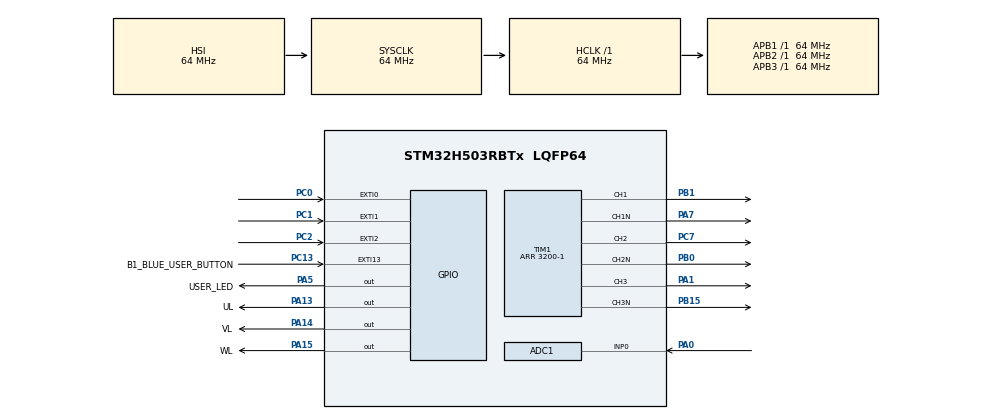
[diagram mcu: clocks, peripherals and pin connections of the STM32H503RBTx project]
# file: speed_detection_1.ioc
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ADC1.Channel-0\#ChannelRegularConversion=ADC_CHANNEL_0
ADC1.MonitoredBy-0\#ChannelRegularConversion=__NULL
ADC1.NbrOfConversionFlag=1
ADC1.OffsetNumber-0\#ChannelRegularConversion=ADC_OFFSET_NONE
ADC1.Rank-0\#ChannelRegularConversion=1
ADC1.SamplingTime-0\#ChannelRegularConversion=ADC_SAMPLETIME_2CYCLES_5
ADC1.master=1
BOOTPATH.BootPathName=LEGACY
BOOTPATH.UserSelectedBootPath=LEGACY
Mcu.Family=STM32H5
Mcu.Name=STM32H503RBTx
Mcu.Package=LQFP64
NVIC.EXTI0_IRQn=true\:0\:0\:true\:false\:true\:true\:true\:true
NVIC.EXTI1_IRQn=true\:0\:0\:true\:false\:true\:true\:true\:true
NVIC.EXTI2_IRQn=true\:0\:0\:true\:false\:true\:true\:true\:true
NVIC.PriorityGroup=NVIC_PRIORITYGROUP_4
NVIC.TIM2_IRQn=true\:0\:0\:false\:false\:true\:true\:true\:true
PA0.Signal=ADCx_INP0
PA1.Signal=S_TIM1_CH3
PA13(JTMS/SWDIO).GPIO_Label=UL
PA13(JTMS/SWDIO).Signal=GPIO_Output
PA14(JTCK/SWCLK).GPIO_Label=VL
PA14(JTCK/SWCLK).Signal=GPIO_Output
PA15(JTDI).GPIO_Label=WL
PA15(JTDI).Signal=GPIO_Output
PA3.GPIO_Label=T_VCP_RX
PA3.Signal=USART3_RX
PA4.GPIO_Label=T_VCP_TX
PA4.Signal=USART3_TX
PA5.GPIO_Label=USER_LED
PA5.Signal=GPIO_Output
PA7.Mode=PWM Generation1 CH1 CH1N
PA7.Signal=TIM1_CH1N
PB0.Mode=PWM Generation2 CH2 CH2N
PB0.Signal=TIM1_CH2N
PB1.Signal=S_TIM1_CH1
PB15.Mode=PWM Generation3 CH3 CH3N
PB15.Signal=TIM1_CH3N
PC0.GPIO_ModeDefaultEXTI=GPIO_MODE_IT_RISING_FALLING
PC0.Signal=GPXTI0
PC1.GPIO_ModeDefaultEXTI=GPIO_MODE_IT_RISING_FALLING
PC1.Signal=GPXTI1
PC13.GPIO_Label=B1_BLUE_USER_BUTTON
PC13.Signal=GPXTI13
PC2.GPIO_ModeDefaultEXTI=GPIO_MODE_IT_RISING_FALLING
PC2.Signal=GPXTI2
PC7.Signal=S_TIM1_CH2
ProjectManager.HeapSize=0x200
ProjectManager.StackSize=0x400
ProjectManager.TargetToolchain=STM32CubeIDE
RCC.ADCFreq_Value=64000000
RCC.AHBFreq_Value=64000000
RCC.APB1Freq_Value=64000000
RCC.APB1TimFreq_Value=64000000
RCC.APB2Freq_Value=64000000
RCC.APB2TimFreq_Value=64000000
RCC.APB3Freq_Value=64000000
RCC.CSI_VALUE=4000000
RCC.CortexFreq_Value=64000000
RCC.EPOD_VALUE=4000000
RCC.HCLKFreq_Value=64000000
RCC.HSE_VALUE=24000000
RCC.HSI48_VALUE=48000000
RCC.HSIDiv=RCC_HSI_DIV1
RCC.HSI_VALUE=64000000
RCC.LSE_VALUE=32768
RCC.LSIRC_VALUE=32000
RCC.PLLN=32
RCC.SYSCLKFreq_VALUE=64000000
RCC.USBFreq_Value=48000000
RCC.VCOOutputFreq_Value=128000000
SH.ADCx_INP0.0=ADC1_INP0,IN0-Single-Ended
SH.S_TIM1_CH1.0=TIM1_CH1,PWM Generation1 CH1 CH1N
SH.S_TIM1_CH2.0=TIM1_CH2,PWM Generation2 CH2 CH2N
SH.S_TIM1_CH3.0=TIM1_CH3,PWM Generation3 CH3 CH3N
TIM1.Channel-PWM\ Generation1\ CH1\ CH1N=TIM_CHANNEL_1
TIM1.Channel-PWM\ Generation2\ CH2\ CH2N=TIM_CHANNEL_2
TIM1.Channel-PWM\ Generation3\ CH3\ CH3N=TIM_CHANNEL_3
TIM1.DeadTime=10
TIM1.PeriodNoDither=3200-1
TIM1.PulseNoDither_1=0
TIM2.PeriodNoDither=100-1
TIM2.Prescaler=64000-1
VP_BOOTPATH_VS_BOOTPATH.Mode=BP_Activate
VP_CORTEX_M33_NS_VS_Hclk.Mode=Hclk_Mode
VP_MEMORYMAP_VS_MEMORYMAP.Mode=CurAppReg
VP_PWR_VS_DBSignals.Mode=DisableDeadBatterySignals
VP_PWR_VS_LPOM.Mode=PowerOptimisation
VP_PWR_VS_SECSignals.Mode=Security/Privilege
VP_TIM1_VS_ClockSourceINT.Mode=Internal
VP_TIM2_VS_ClockSourceINT.Mode=Internal
board=NUCLEO-H503RB

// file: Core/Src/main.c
/* USER CODE BEGIN Header */
/**
  ******************************************************************************
  * @file           : main.c
  * @brief          : Main program body
  ******************************************************************************
  * @attention
  *
  * Copyright (c) 2025 STMicroelectronics.
  * All rights reserved.
  *
  * This software is licensed under terms that can be found in the LICENSE file
  * in the root directory of this software component.
  * If no LICENSE file comes with this software, it is provided AS-IS.
  *
  ******************************************************************************
  */
/* USER CODE END Header */
#include "main.h"

/* USER CODE BEGIN PD */

// --- GPIOピン読み取り用マクロ ---
#define HALL_A_READ() HAL_GPIO_ReadPin(GPIOC, GPIO_PIN_0)
#define HALL_B_READ() HAL_GPIO_ReadPin(GPIOC, GPIO_PIN_1)
#define HALL_C_READ() HAL_GPIO_ReadPin(GPIOC, GPIO_PIN_2)

/* USER CODE END PD */

ADC_HandleTypeDef hadc1;

TIM_HandleTypeDef htim1;
TIM_HandleTypeDef htim2;

void SystemClock_Config(void);
static void MX_GPIO_Init(void);
static void MX_TIM1_Init(void);
static void MX_ADC1_Init(void);
static void MX_TIM2_Init(void);
/* USER CODE BEGIN PFP */
// --- PWM出力開始 ---
void Start_PWM()
{
  HAL_TIM_PWM_Start(&htim1, TIM_CHANNEL_1);
  HAL_TIM_PWM_Start(&htim1, TIM_CHANNEL_2);
  HAL_TIM_PWM_Start(&htim1, TIM_CHANNEL_3);
  HAL_TIMEx_PWMN_Start(&htim1, TIM_CHANNEL_1);
  HAL_TIMEx_PWMN_Start(&htim1, TIM_CHANNEL_2);
  HAL_TIMEx_PWMN_Start(&htim1, TIM_CHANNEL_3);
}

uint16_t Get_Duty_From_ADC(void);
uint32_t last_hall_time = 0;
uint8_t motor_running = 0;  // 0=停止, 1=回転中

// --- 6ステップ通電制御 ---
void Set_Step(uint8_t hall_state, uint16_t duty)
{
  // 全ch出力OFF
  __HAL_TIM_SET_COMPARE(&htim1, TIM_CHANNEL_1, 0);
  __HAL_TIM_SET_COMPARE(&htim1, TIM_CHANNEL_2, 0);
  __HAL_TIM_SET_COMPARE(&htim1, TIM_CHANNEL_3, 0);

  switch (hall_state)
  {
    case 0b101: // H1=1, H2=0, H3=1
		__HAL_TIM_SET_COMPARE(&htim1, TIM_CHANNEL_1, duty);
		__HAL_TIM_SET_COMPARE(&htim1, TIM_CHANNEL_2, 0);
		__HAL_TIM_SET_COMPARE(&htim1, TIM_CHANNEL_3, 0);
		HAL_GPIO_WritePin(UL_GPIO_Port, UL_Pin, GPIO_PIN_RESET);
		HAL_GPIO_WritePin(VL_GPIO_Port, VL_Pin, GPIO_PIN_SET);
		HAL_GPIO_WritePin(WL_GPIO_Port, WL_Pin, GPIO_PIN_RESET);
      break;

    case 0b100: // U+ W-
		__HAL_TIM_SET_COMPARE(&htim1, TIM_CHANNEL_1, duty);
		__HAL_TIM_SET_COMPARE(&htim1, TIM_CHANNEL_2, 0);
		__HAL_TIM_SET_COMPARE(&htim1, TIM_CHANNEL_3, 0);
		HAL_GPIO_WritePin(UL_GPIO_Port, UL_Pin, GPIO_PIN_RESET);
		HAL_GPIO_WritePin(VL_GPIO_Port, VL_Pin, GPIO_PIN_RESET);
		HAL_GPIO_WritePin(WL_GPIO_Port, WL_Pin, GPIO_PIN_SET);
      break;

    case 0b110: // V+ W-
		__HAL_TIM_SET_COMPARE(&htim1, TIM_CHANNEL_1, 0);
		__HAL_TIM_SET_COMPARE(&htim1, TIM_CHANNEL_2, duty);
		__HAL_TIM_SET_COMPARE(&htim1, TIM_CHANNEL_3, 0);
		HAL_GPIO_WritePin(UL_GPIO_Port, UL_Pin, GPIO_PIN_RESET);
		HAL_GPIO_WritePin(VL_GPIO_Port, VL_Pin, GPIO_PIN_RESET);
		HAL_GPIO_WritePin(WL_GPIO_Port, WL_Pin, GPIO_PIN_SET);
      break;

    case 0b010: // V+ U-
		__HAL_TIM_SET_COMPARE(&htim1, TIM_CHANNEL_1, 0);
		__HAL_TIM_SET_COMPARE(&htim1, TIM_CHANNEL_2, duty);
		__HAL_TIM_SET_COMPARE(&htim1, TIM_CHANNEL_3, 0);
		HAL_GPIO_WritePin(UL_GPIO_Port, UL_Pin, GPIO_PIN_SET);
		HAL_GPIO_WritePin(VL_GPIO_Port, VL_Pin, GPIO_PIN_RESET);
		HAL_GPIO_WritePin(WL_GPIO_Port, WL_Pin, GPIO_PIN_RESET);
      break;

    case 0b011: // W+ U-
		__HAL_TIM_SET_COMPARE(&htim1, TIM_CHANNEL_1, 0);
		__HAL_TIM_SET_COMPARE(&htim1, TIM_CHANNEL_2, 0);
		__HAL_TIM_SET_COMPARE(&htim1, TIM_CHANNEL_3, duty);
		HAL_GPIO_WritePin(UL_GPIO_Port, UL_Pin, GPIO_PIN_SET);
		HAL_GPIO_WritePin(VL_GPIO_Port, VL_Pin, GPIO_PIN_RESET);
		HAL_GPIO_WritePin(WL_GPIO_Port, WL_Pin, GPIO_PIN_RESET);
      break;

    case 0b001: // W+ V-
		__HAL_TIM_SET_COMPARE(&htim1, TIM_CHANNEL_1, 0);
		__HAL_TIM_SET_COMPARE(&htim1, TIM_CHANNEL_2, 0);
		__HAL_TIM_SET_COMPARE(&htim1, TIM_CHANNEL_3, duty);
		HAL_GPIO_WritePin(UL_GPIO_Port, UL_Pin, GPIO_PIN_RESET);
		HAL_GPIO_WritePin(VL_GPIO_Port, VL_Pin, GPIO_PIN_SET);
		HAL_GPIO_WritePin(WL_GPIO_Port, WL_Pin, GPIO_PIN_RESET);
      break;

    default:
      // 安全停止
      break;
  }
}

// --- 初期オープンループスタート ---
void OpenLoop_Startup(uint16_t duty)
{
    // ゆっくりと6ステップを順番に進める
    for (int step = 0; step < 1; step++) {
        Set_Step(0b101, duty);
        HAL_Delay(5);
        Set_Step(0b100, duty);
        HAL_Delay(5);
        Set_Step(0b110, duty);
        HAL_Delay(5);
        Set_Step(0b010, duty);
        HAL_Delay(5);
        Set_Step(0b011, duty);
        HAL_Delay(5);
        Set_Step(0b001, duty);
        HAL_Delay(5);
    }
}

// --- ホールセンサ状態を読み取り、ステップ制御 ---
void Update_Hall_And_Commutate()
{
  uint8_t hall = (HALL_A_READ() << 2) | (HALL_B_READ() << 1) | (HALL_C_READ() << 0);
  uint16_t duty = Get_Duty_From_ADC();
  Set_Step(hall, duty);
}

/* USER CODE END PFP */

/* USER CODE BEGIN 0 */

uint16_t Get_Duty_From_ADC()
{
  HAL_ADC_Start(&hadc1);
  HAL_ADC_PollForConversion(&hadc1, HAL_MAX_DELAY);
  uint32_t adc_val = HAL_ADC_GetValue(&hadc1);
  HAL_ADC_Stop(&hadc1);

  // 12bit ADC (0〜4095) を PWM の Period 値にスケーリング
  return (uint16_t)((adc_val * htim1.Init.Period) / 4095);
}

/* USER CODE END 0 */

int main(void)
{

  /* MCU Configuration--------------------------------------------------------*/

  /* Reset of all peripherals, Initializes the Flash interface and the Systick. */
  HAL_Init();

  /* Configure the system clock */
  SystemClock_Config();

  /* Initialize all configured peripherals */
  MX_GPIO_Init();
  MX_TIM1_Init();
  MX_ADC1_Init();
  MX_TIM2_Init();
  /* USER CODE BEGIN 2 */

  Start_PWM();
  uint16_t adc_val = 0;
  while (1)
  {
      adc_val = Get_Duty_From_ADC();
      if (adc_val <= 200) {
          break;  // 条件を満たしたらループを抜ける
      }
  }
  while (1)
    {
        adc_val = Get_Duty_From_ADC();
        if (adc_val >= 300) {
            break;  // 条件を満たしたらループを抜ける
        }
    }

  HAL_TIM_Base_Start_IT(&htim2);
  Set_Step(0b101, 1000);
  HAL_Delay(10);
  Set_Step(0b100, 1000);
  //HAL_Delay(100);
  //OpenLoop_Startup(100);

  /* USER CODE END 2 */

  /* Infinite loop */
  while (1)
  {

    /* USER CODE BEGIN 3 */
	  /*
	  uint16_t duty = Get_Duty_From_ADC();

	  // --- 停止検出 ---
	  if (HAL_GetTick() - last_hall_time > 300) { // 300ms以上変化なし → 停止判定
		  motor_running = 0;
		  // --- 再始動条件 ---
		  if (!motor_running && duty > 200) {         // 停止中かつ duty がしきい値超え
			  Set_Step(0b101, 1000);
			  HAL_Delay(10);
			  Set_Step(0b100, 1000);
			  //OpenLoop_Startup(200);           // 任意の duty で再始動
			  motor_running = 1;
			  last_hall_time = HAL_GetTick();
		  }
	  }
	  HAL_Delay(500);
	  */

  }
  /* USER CODE END 3 */
}

void SystemClock_Config(void)
{
  RCC_OscInitTypeDef RCC_OscInitStruct = {0};
  RCC_ClkInitTypeDef RCC_ClkInitStruct = {0};

  /** Configure the main internal regulator output voltage
  */
  __HAL_PWR_VOLTAGESCALING_CONFIG(PWR_REGULATOR_VOLTAGE_SCALE3);

  while(!__HAL_PWR_GET_FLAG(PWR_FLAG_VOSRDY)) {}

  /** Initializes the RCC Oscillators according to the specified parameters
  * in the RCC_OscInitTypeDef structure.
  */
  RCC_OscInitStruct.OscillatorType = RCC_OSCILLATORTYPE_HSI;
  RCC_OscInitStruct.HSIState = RCC_HSI_ON;
  RCC_OscInitStruct.HSIDiv = RCC_HSI_DIV1;
  RCC_OscInitStruct.HSICalibrationValue = RCC_HSICALIBRATION_DEFAULT;
  RCC_OscInitStruct.PLL.PLLState = RCC_PLL_NONE;
  if (HAL_RCC_OscConfig(&RCC_OscInitStruct) != HAL_OK)
  {
    Error_Handler();
  }

  /** Initializes the CPU, AHB and APB buses clocks
  */
  RCC_ClkInitStruct.ClockType = RCC_CLOCKTYPE_HCLK|RCC_CLOCKTYPE_SYSCLK
                              |RCC_CLOCKTYPE_PCLK1|RCC_CLOCKTYPE_PCLK2
                              |RCC_CLOCKTYPE_PCLK3;
  RCC_ClkInitStruct.SYSCLKSource = RCC_SYSCLKSOURCE_HSI;
  RCC_ClkInitStruct.AHBCLKDivider = RCC_SYSCLK_DIV1;
  RCC_ClkInitStruct.APB1CLKDivider = RCC_HCLK_DIV1;
  RCC_ClkInitStruct.APB2CLKDivider = RCC_HCLK_DIV1;
  RCC_ClkInitStruct.APB3CLKDivider = RCC_HCLK_DIV1;

  if (HAL_RCC_ClockConfig(&RCC_ClkInitStruct, FLASH_LATENCY_3) != HAL_OK)
  {
    Error_Handler();
  }

  /** Configure the programming delay
  */
  __HAL_FLASH_SET_PROGRAM_DELAY(FLASH_PROGRAMMING_DELAY_1);
}

static void MX_ADC1_Init(void)
{

  ADC_ChannelConfTypeDef sConfig = {0};

  /** Common config
  */
  hadc1.Instance = ADC1;
  hadc1.Init.ClockPrescaler = ADC_CLOCK_ASYNC_DIV2;
  hadc1.Init.Resolution = ADC_RESOLUTION_12B;
  hadc1.Init.DataAlign = ADC_DATAALIGN_RIGHT;
  hadc1.Init.ScanConvMode = ADC_SCAN_DISABLE;
  hadc1.Init.EOCSelection = ADC_EOC_SINGLE_CONV;
  hadc1.Init.LowPowerAutoWait = DISABLE;
  hadc1.Init.ContinuousConvMode = DISABLE;
  hadc1.Init.NbrOfConversion = 1;
  hadc1.Init.DiscontinuousConvMode = DISABLE;
  hadc1.Init.ExternalTrigConv = ADC_SOFTWARE_START;
  hadc1.Init.ExternalTrigConvEdge = ADC_EXTERNALTRIGCONVEDGE_NONE;
  hadc1.Init.DMAContinuousRequests = DISABLE;
  hadc1.Init.SamplingMode = ADC_SAMPLING_MODE_NORMAL;
  hadc1.Init.Overrun = ADC_OVR_DATA_PRESERVED;
  hadc1.Init.OversamplingMode = DISABLE;
  if (HAL_ADC_Init(&hadc1) != HAL_OK)
  {
    Error_Handler();
  }

  /** Configure Regular Channel
  */
  sConfig.Channel = ADC_CHANNEL_0;
  sConfig.Rank = ADC_REGULAR_RANK_1;
  sConfig.SamplingTime = ADC_SAMPLETIME_2CYCLES_5;
  sConfig.SingleDiff = ADC_SINGLE_ENDED;
  sConfig.OffsetNumber = ADC_OFFSET_NONE;
  sConfig.Offset = 0;
  if (HAL_ADC_ConfigChannel(&hadc1, &sConfig) != HAL_OK)
  {
    Error_Handler();
  }

}

static void MX_TIM1_Init(void)
{

  TIM_ClockConfigTypeDef sClockSourceConfig = {0};
  TIM_MasterConfigTypeDef sMasterConfig = {0};
  TIM_OC_InitTypeDef sConfigOC = {0};
  TIM_BreakDeadTimeConfigTypeDef sBreakDeadTimeConfig = {0};

  htim1.Instance = TIM1;
  htim1.Init.Prescaler = 0;
  htim1.Init.CounterMode = TIM_COUNTERMODE_UP;
  htim1.Init.Period = 3199;
  htim1.Init.ClockDivision = TIM_CLOCKDIVISION_DIV1;
  htim1.Init.RepetitionCounter = 0;
  htim1.Init.AutoReloadPreload = TIM_AUTORELOAD_PRELOAD_DISABLE;
  if (HAL_TIM_Base_Init(&htim1) != HAL_OK)
  {
    Error_Handler();
  }
  sClockSourceConfig.ClockSource = TIM_CLOCKSOURCE_INTERNAL;
  if (HAL_TIM_ConfigClockSource(&htim1, &sClockSourceConfig) != HAL_OK)
  {
    Error_Handler();
  }
  if (HAL_TIM_PWM_Init(&htim1) != HAL_OK)
  {
    Error_Handler();
  }
  sMasterConfig.MasterOutputTrigger = TIM_TRGO_RESET;
  sMasterConfig.MasterOutputTrigger2 = TIM_TRGO2_RESET;
  sMasterConfig.MasterSlaveMode = TIM_MASTERSLAVEMODE_DISABLE;
  if (HAL_TIMEx_MasterConfigSynchronization(&htim1, &sMasterConfig) != HAL_OK)
  {
    Error_Handler();
  }
  sConfigOC.OCMode = TIM_OCMODE_PWM1;
  sConfigOC.Pulse = 0;
  sConfigOC.OCPolarity = TIM_OCPOLARITY_HIGH;
  sConfigOC.OCNPolarity = TIM_OCNPOLARITY_HIGH;
  sConfigOC.OCFastMode = TIM_OCFAST_DISABLE;
  sConfigOC.OCIdleState = TIM_OCIDLESTATE_RESET;
  sConfigOC.OCNIdleState = TIM_OCNIDLESTATE_RESET;
  if (HAL_TIM_PWM_ConfigChannel(&htim1, &sConfigOC, TIM_CHANNEL_1) != HAL_OK)
  {
    Error_Handler();
  }
  if (HAL_TIM_PWM_ConfigChannel(&htim1, &sConfigOC, TIM_CHANNEL_2) != HAL_OK)
  {
    Error_Handler();
  }
  if (HAL_TIM_PWM_ConfigChannel(&htim1, &sConfigOC, TIM_CHANNEL_3) != HAL_OK)
  {
    Error_Handler();
  }
  sBreakDeadTimeConfig.OffStateRunMode = TIM_OSSR_DISABLE;
  sBreakDeadTimeConfig.OffStateIDLEMode = TIM_OSSI_DISABLE;
  sBreakDeadTimeConfig.LockLevel = TIM_LOCKLEVEL_OFF;
  sBreakDeadTimeConfig.DeadTime = 10;
  sBreakDeadTimeConfig.BreakState = TIM_BREAK_DISABLE;
  sBreakDeadTimeConfig.BreakPolarity = TIM_BREAKPOLARITY_HIGH;
  sBreakDeadTimeConfig.BreakFilter = 0;
  sBreakDeadTimeConfig.BreakAFMode = TIM_BREAK_AFMODE_INPUT;
  sBreakDeadTimeConfig.Break2State = TIM_BREAK2_DISABLE;
  sBreakDeadTimeConfig.Break2Polarity = TIM_BREAK2POLARITY_HIGH;
  sBreakDeadTimeConfig.Break2Filter = 0;
  sBreakDeadTimeConfig.Break2AFMode = TIM_BREAK_AFMODE_INPUT;
  sBreakDeadTimeConfig.AutomaticOutput = TIM_AUTOMATICOUTPUT_DISABLE;
  if (HAL_TIMEx_ConfigBreakDeadTime(&htim1, &sBreakDeadTimeConfig) != HAL_OK)
  {
    Error_Handler();
  }
  HAL_TIM_MspPostInit(&htim1);

}

static void MX_TIM2_Init(void)
{

  TIM_ClockConfigTypeDef sClockSourceConfig = {0};
  TIM_MasterConfigTypeDef sMasterConfig = {0};

  htim2.Instance = TIM2;
  htim2.Init.Prescaler = 64000-1;
  htim2.Init.CounterMode = TIM_COUNTERMODE_UP;
  htim2.Init.Period = 99;
  htim2.Init.ClockDivision = TIM_CLOCKDIVISION_DIV1;
  htim2.Init.AutoReloadPreload = TIM_AUTORELOAD_PRELOAD_DISABLE;
  if (HAL_TIM_Base_Init(&htim2) != HAL_OK)
  {
    Error_Handler();
  }
  sClockSourceConfig.ClockSource = TIM_CLOCKSOURCE_INTERNAL;
  if (HAL_TIM_ConfigClockSource(&htim2, &sClockSourceConfig) != HAL_OK)
  {
    Error_Handler();
  }
  sMasterConfig.MasterOutputTrigger = TIM_TRGO_RESET;
  sMasterConfig.MasterSlaveMode = TIM_MASTERSLAVEMODE_DISABLE;
  if (HAL_TIMEx_MasterConfigSynchronization(&htim2, &sMasterConfig) != HAL_OK)
  {
    Error_Handler();
  }

}

static void MX_GPIO_Init(void)
{
  GPIO_InitTypeDef GPIO_InitStruct = {0};

  /* GPIO Ports Clock Enable */
  __HAL_RCC_GPIOC_CLK_ENABLE();
  __HAL_RCC_GPIOA_CLK_ENABLE();
  __HAL_RCC_GPIOB_CLK_ENABLE();

  /*Configure GPIO pin Output Level */
  HAL_GPIO_WritePin(GPIOA, USER_LED_Pin|UL_Pin|VL_Pin|WL_Pin, GPIO_PIN_RESET);

  /*Configure GPIO pin : B1_BLUE_USER_BUTTON_Pin */
  GPIO_InitStruct.Pin = B1_BLUE_USER_BUTTON_Pin;
  GPIO_InitStruct.Mode = GPIO_MODE_IT_RISING;
  GPIO_InitStruct.Pull = GPIO_NOPULL;
  HAL_GPIO_Init(B1_BLUE_USER_BUTTON_GPIO_Port, &GPIO_InitStruct);

  /*Configure GPIO pins : PC0 PC1 PC2 */
  GPIO_InitStruct.Pin = GPIO_PIN_0|GPIO_PIN_1|GPIO_PIN_2;
  GPIO_InitStruct.Mode = GPIO_MODE_IT_RISING_FALLING;
  GPIO_InitStruct.Pull = GPIO_NOPULL;
  HAL_GPIO_Init(GPIOC, &GPIO_InitStruct);

  /*Configure GPIO pins : T_VCP_RX_Pin T_VCP_TX_Pin */
  GPIO_InitStruct.Pin = T_VCP_RX_Pin|T_VCP_TX_Pin;
  GPIO_InitStruct.Mode = GPIO_MODE_AF_PP;
  GPIO_InitStruct.Pull = GPIO_NOPULL;
  GPIO_InitStruct.Speed = GPIO_SPEED_FREQ_LOW;
  GPIO_InitStruct.Alternate = GPIO_AF13_USART3;
  HAL_GPIO_Init(GPIOA, &GPIO_InitStruct);

  /*Configure GPIO pins : USER_LED_Pin UL_Pin VL_Pin WL_Pin */
  GPIO_InitStruct.Pin = USER_LED_Pin|UL_Pin|VL_Pin|WL_Pin;
  GPIO_InitStruct.Mode = GPIO_MODE_OUTPUT_PP;
  GPIO_InitStruct.Pull = GPIO_NOPULL;
  GPIO_InitStruct.Speed = GPIO_SPEED_FREQ_LOW;
  HAL_GPIO_Init(GPIOA, &GPIO_InitStruct);

  /* EXTI interrupt init*/
  HAL_NVIC_SetPriority(EXTI0_IRQn, 0, 0);
  HAL_NVIC_EnableIRQ(EXTI0_IRQn);

  HAL_NVIC_SetPriority(EXTI1_IRQn, 0, 0);
  HAL_NVIC_EnableIRQ(EXTI1_IRQn);

  HAL_NVIC_SetPriority(EXTI2_IRQn, 0, 0);
  HAL_NVIC_EnableIRQ(EXTI2_IRQn);

}

/* USER CODE BEGIN 4 */
void HAL_TIM_PeriodElapsedCallback(TIM_HandleTypeDef *htim)
{
	if (HAL_GetTick() - last_hall_time > 300) { // 300ms以上変化なし → 停止判定
		motor_running = 0;
		uint16_t duty = Get_Duty_From_ADC();
		HAL_GPIO_WritePin(GPIOA, GPIO_PIN_5, GPIO_PIN_SET);
		// --- 再始動条件 ---
		if (!motor_running && duty > 200) {         // 停止中かつ duty がしきい値超え
		  Set_Step(0b101, 1000);
		  //HAL_Delay(10);
		  Set_Step(0b100, 1000);
		  //OpenLoop_Startup(200);           // 任意の duty で再始動
		  motor_running = 1;
		  last_hall_time = HAL_GetTick();
		}
	}
}

void HAL_GPIO_EXTI_Rising_Callback(uint16_t GPIO_Pin)
{
  if (GPIO_Pin == GPIO_PIN_0 || GPIO_Pin == GPIO_PIN_1 || GPIO_Pin == GPIO_PIN_2)
  {
    Update_Hall_And_Commutate();
    last_hall_time = HAL_GetTick();
    motor_running = 1;  // 回転中フラグON
    HAL_GPIO_WritePin(GPIOA, GPIO_PIN_5, GPIO_PIN_RESET);
  }
}

void HAL_GPIO_EXTI_Falling_Callback(uint16_t GPIO_Pin)
{
  if (GPIO_Pin == GPIO_PIN_0 || GPIO_Pin == GPIO_PIN_1 || GPIO_Pin == GPIO_PIN_2)
  {
    Update_Hall_And_Commutate();
    last_hall_time = HAL_GetTick();
    motor_running = 1;  // 回転中フラグON
    HAL_GPIO_WritePin(GPIOA, GPIO_PIN_5, GPIO_PIN_RESET);
  }
}

/* USER CODE END 4 */

void Error_Handler(void)
{
  __disable_irq();
  while (1)
  {
  }
}
